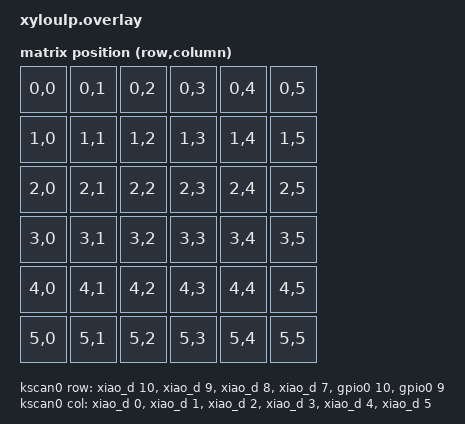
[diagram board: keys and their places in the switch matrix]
#include <dt-bindings/zmk/matrix_transform.h>

/ {
    chosen {
        zmk,kscan = &kscan0;
        zmk,matrix_transform = &default_transform;
    };

    default_transform: keymap_transform_0 {
        compatible = "zmk,matrix-transform";
        columns = <6>;
        rows = <6>;
        // 키가 33개라고 하셨으므로, 아래 배열은 36개(6x6) 위치 중
        // 스위치가 없는 곳은 비워두거나 무시하게 됩니다.
        // 순서는 Row 0, Row 1 ... 순서입니다.
        map = <
            RC(0,0) RC(0,1) RC(0,2) RC(0,3) RC(0,4) RC(0,5)  // Left Row 1
            RC(1,0) RC(1,1) RC(1,2) RC(1,3) RC(1,4) RC(1,5)  // Left Row 2
            RC(2,0) RC(2,1) RC(2,2) RC(2,3) RC(2,4) RC(2,5)  // Left Row 3
            RC(3,0) RC(3,1) RC(3,2) RC(3,3) RC(3,4) RC(3,5)  // Right Row 1
            RC(4,0) RC(4,1) RC(4,2) RC(4,3) RC(4,4) RC(4,5)  // Right Row 2
            RC(5,0) RC(5,1) RC(5,2) RC(5,3) RC(5,4) RC(5,5)  // Right Row 3
        >;
    };

    kscan0: kscan_0 {
        compatible = "zmk,kscan-gpio-matrix";
        label = "KSCAN";
        diode-direction = "col2row";

        // 회로도의 C0~C5 (Output)
        col-gpios
            = <&xiao_d 0 GPIO_ACTIVE_HIGH>
            , <&xiao_d 1 GPIO_ACTIVE_HIGH>
            , <&xiao_d 2 GPIO_ACTIVE_HIGH>
            , <&xiao_d 3 GPIO_ACTIVE_HIGH>
            , <&xiao_d 4 GPIO_ACTIVE_HIGH>
            , <&xiao_d 5 GPIO_ACTIVE_HIGH>
            ;

        // 회로도의 R0~R5 (Input)
        // R4, R5는 xiao_d 별칭이 없으므로 gpio0 원본 번호 사용
        row-gpios
            = <&xiao_d 10 (GPIO_ACTIVE_HIGH | GPIO_PULL_DOWN)> // R0
            , <&xiao_d 9  (GPIO_ACTIVE_HIGH | GPIO_PULL_DOWN)> // R1
            , <&xiao_d 8  (GPIO_ACTIVE_HIGH | GPIO_PULL_DOWN)> // R2
            , <&xiao_d 7  (GPIO_ACTIVE_HIGH | GPIO_PULL_DOWN)> // R3
            , <&gpio0 10  (GPIO_ACTIVE_HIGH | GPIO_PULL_DOWN)> // R4 (NFC2)
            , <&gpio0 9   (GPIO_ACTIVE_HIGH | GPIO_PULL_DOWN)> // R5 (NFC1)
            ;
    };
};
